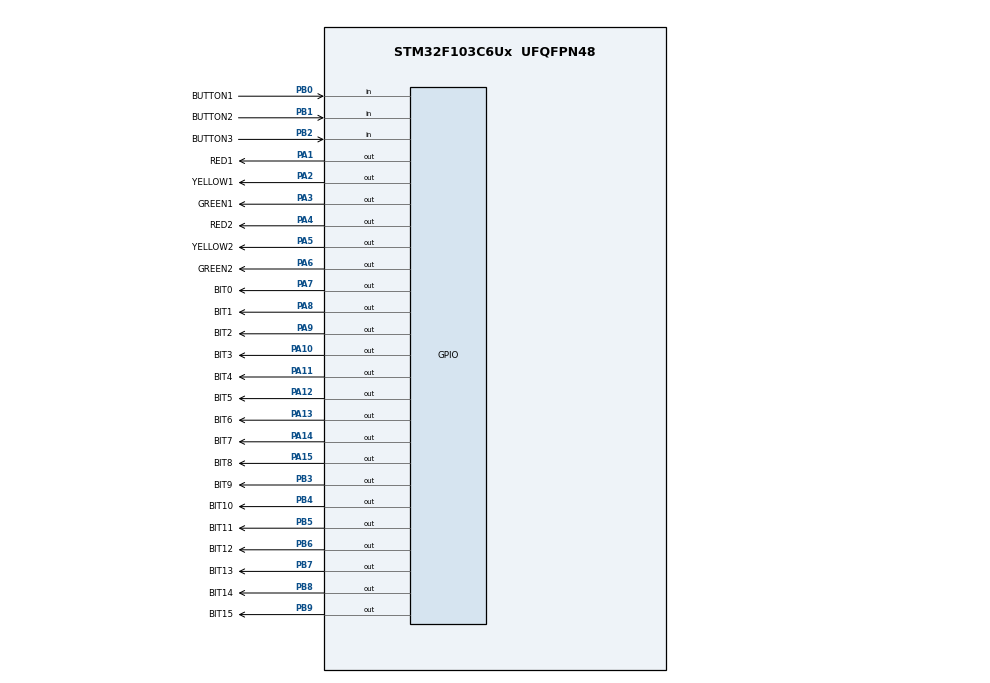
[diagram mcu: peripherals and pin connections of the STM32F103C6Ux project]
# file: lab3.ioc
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Mcu.Family=STM32F1
Mcu.Name=STM32F103C6Ux
Mcu.Package=UFQFPN48
NVIC.PriorityGroup=NVIC_PRIORITYGROUP_4
NVIC.TIM2_IRQn=true\:0\:0\:false\:false\:true\:true\:true
PA1.GPIO_Label=RED1
PA1.Signal=GPIO_Output
PA10.GPIO_Label=BIT3
PA10.Signal=GPIO_Output
PA11.GPIO_Label=BIT4
PA11.Signal=GPIO_Output
PA12.GPIO_Label=BIT5
PA12.Signal=GPIO_Output
PA13.GPIO_Label=BIT6
PA13.Signal=GPIO_Output
PA14.GPIO_Label=BIT7
PA14.Signal=GPIO_Output
PA15.GPIO_Label=BIT8
PA15.Signal=GPIO_Output
PA2.GPIO_Label=YELLOW1
PA2.Signal=GPIO_Output
PA3.GPIO_Label=GREEN1
PA3.Signal=GPIO_Output
PA4.GPIO_Label=RED2
PA4.Signal=GPIO_Output
PA5.GPIO_Label=YELLOW2
PA5.Signal=GPIO_Output
PA6.GPIO_Label=GREEN2
PA6.Signal=GPIO_Output
PA7.GPIO_Label=BIT0
PA7.Signal=GPIO_Output
PA8.GPIO_Label=BIT1
PA8.Signal=GPIO_Output
PA9.GPIO_Label=BIT2
PA9.Signal=GPIO_Output
PB0.GPIO_Label=BUTTON1
PB0.GPIO_PuPd=GPIO_PULLUP
PB0.Signal=GPIO_Input
PB1.GPIO_Label=BUTTON2
PB1.GPIO_PuPd=GPIO_PULLUP
PB1.Signal=GPIO_Input
PB2.GPIO_Label=BUTTON3
PB2.GPIO_PuPd=GPIO_PULLUP
PB2.Signal=GPIO_Input
PB3.GPIO_Label=BIT9
PB3.Signal=GPIO_Output
PB4.GPIO_Label=BIT10
PB4.Signal=GPIO_Output
PB5.GPIO_Label=BIT11
PB5.Signal=GPIO_Output
PB6.GPIO_Label=BIT12
PB6.Signal=GPIO_Output
PB7.GPIO_Label=BIT13
PB7.Signal=GPIO_Output
PB8.GPIO_Label=BIT14
PB8.Signal=GPIO_Output
PB9.GPIO_Label=BIT15
PB9.Signal=GPIO_Output
ProjectManager.HeapSize=0x200
ProjectManager.StackSize=0x400
ProjectManager.TargetToolchain=STM32CubeIDE
RCC.APB1Freq_Value=8000000
RCC.APB2Freq_Value=8000000
TIM2.Period=9
TIM2.Prescaler=7999
VP_SYS_VS_ND.Mode=No_Debug
VP_TIM2_VS_ClockSourceINT.Mode=Internal
board=custom

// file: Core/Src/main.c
/* USER CODE BEGIN Header */
/**
  ******************************************************************************
  * @file           : main.c
  * @brief          : Main program body
  ******************************************************************************
  * @attention
  *
  * <h2><center>&copy; Copyright (c) 2023 STMicroelectronics.
  * All rights reserved.</center></h2>
  *
  * This software component is licensed by ST under BSD 3-Clause license,
  * the "License"; You may not use this file except in compliance with the
  * License. You may obtain a copy of the License at:
  *                        opensource.org/licenses/BSD-3-Clause
  *
  ******************************************************************************
  */
/* USER CODE END Header */
#include "main.h"
#include "software_timer.h"
#include "global.h"

TIM_HandleTypeDef htim2;

void SystemClock_Config(void);
static void MX_GPIO_Init(void);
static void MX_TIM2_Init(void);

/* USER CODE BEGIN 0 */
int timer0_counter = 0;
int timer0_flag = 0;
int TIMER_CYCLE = 10;
void setTimer0(int duration){
	timer0_counter = duration/TIMER_CYCLE;
	timer0_flag = 0;
}

void timer_run(){
	if (timer0_counter > 0){
		timer0_counter--;
		if (timer0_counter == 0) timer0_flag = 1;
	}
}
/* USER CODE END 0 */

int main(void)
{

  /* MCU Configuration--------------------------------------------------------*/

  /* Reset of all peripherals, Initializes the Flash interface and the Systick. */
  HAL_Init();

  /* Configure the system clock */
  SystemClock_Config();

  /* Initialize all configured peripherals */
  MX_GPIO_Init();
  MX_TIM2_Init();
  /* USER CODE BEGIN 2 */
  HAL_TIM_Base_Start_IT(&htim2);
  /* USER CODE END 2 */

  /* Infinite loop */
  /* USER CODE BEGIN WHILE */
  LED_STATE[0] = INIT_STATE;
  LED_STATE[1] = INIT_STATE;

  while (1)
  {
	  fsm_manual_run();
    /* USER CODE END WHILE */

  }
}

void SystemClock_Config(void)
{
  RCC_OscInitTypeDef RCC_OscInitStruct = {0};
  RCC_ClkInitTypeDef RCC_ClkInitStruct = {0};

  /** Initializes the RCC Oscillators according to the specified parameters
  * in the RCC_OscInitTypeDef structure.
  */
  RCC_OscInitStruct.OscillatorType = RCC_OSCILLATORTYPE_HSI;
  RCC_OscInitStruct.HSIState = RCC_HSI_ON;
  RCC_OscInitStruct.HSICalibrationValue = RCC_HSICALIBRATION_DEFAULT;
  RCC_OscInitStruct.PLL.PLLState = RCC_PLL_NONE;
  if (HAL_RCC_OscConfig(&RCC_OscInitStruct) != HAL_OK)
  {
    Error_Handler();
  }
  /** Initializes the CPU, AHB and APB buses clocks
  */
  RCC_ClkInitStruct.ClockType = RCC_CLOCKTYPE_HCLK|RCC_CLOCKTYPE_SYSCLK
                              |RCC_CLOCKTYPE_PCLK1|RCC_CLOCKTYPE_PCLK2;
  RCC_ClkInitStruct.SYSCLKSource = RCC_SYSCLKSOURCE_HSI;
  RCC_ClkInitStruct.AHBCLKDivider = RCC_SYSCLK_DIV1;
  RCC_ClkInitStruct.APB1CLKDivider = RCC_HCLK_DIV1;
  RCC_ClkInitStruct.APB2CLKDivider = RCC_HCLK_DIV1;

  if (HAL_RCC_ClockConfig(&RCC_ClkInitStruct, FLASH_LATENCY_0) != HAL_OK)
  {
    Error_Handler();
  }
}

static void MX_TIM2_Init(void)
{

  TIM_ClockConfigTypeDef sClockSourceConfig = {0};
  TIM_MasterConfigTypeDef sMasterConfig = {0};

  htim2.Instance = TIM2;
  htim2.Init.Prescaler = 7999;
  htim2.Init.CounterMode = TIM_COUNTERMODE_UP;
  htim2.Init.Period = 9;
  htim2.Init.ClockDivision = TIM_CLOCKDIVISION_DIV1;
  htim2.Init.AutoReloadPreload = TIM_AUTORELOAD_PRELOAD_DISABLE;
  if (HAL_TIM_Base_Init(&htim2) != HAL_OK)
  {
    Error_Handler();
  }
  sClockSourceConfig.ClockSource = TIM_CLOCKSOURCE_INTERNAL;
  if (HAL_TIM_ConfigClockSource(&htim2, &sClockSourceConfig) != HAL_OK)
  {
    Error_Handler();
  }
  sMasterConfig.MasterOutputTrigger = TIM_TRGO_RESET;
  sMasterConfig.MasterSlaveMode = TIM_MASTERSLAVEMODE_DISABLE;
  if (HAL_TIMEx_MasterConfigSynchronization(&htim2, &sMasterConfig) != HAL_OK)
  {
    Error_Handler();
  }

}

static void MX_GPIO_Init(void)
{
  GPIO_InitTypeDef GPIO_InitStruct = {0};

  /* GPIO Ports Clock Enable */
  __HAL_RCC_GPIOA_CLK_ENABLE();
  __HAL_RCC_GPIOB_CLK_ENABLE();

  /*Configure GPIO pin Output Level */
  HAL_GPIO_WritePin(GPIOA, RED1_Pin|YELLOW1_Pin|GREEN1_Pin|RED2_Pin
                          |YELLOW2_Pin|GREEN2_Pin|BIT0_Pin|BIT1_Pin
                          |BIT2_Pin|BIT3_Pin|BIT4_Pin|BIT5_Pin
                          |BIT6_Pin|BIT7_Pin|BIT8_Pin, GPIO_PIN_RESET);

  /*Configure GPIO pin Output Level */
  HAL_GPIO_WritePin(GPIOB, BIT9_Pin|BIT10_Pin|BIT11_Pin|BIT12_Pin
                          |BIT13_Pin|BIT14_Pin|BIT15_Pin, GPIO_PIN_RESET);

  /*Configure GPIO pins : RED1_Pin YELLOW1_Pin GREEN1_Pin RED2_Pin
                           YELLOW2_Pin GREEN2_Pin BIT0_Pin BIT1_Pin
                           BIT2_Pin BIT3_Pin BIT4_Pin BIT5_Pin
                           BIT6_Pin BIT7_Pin BIT8_Pin */
  GPIO_InitStruct.Pin = RED1_Pin|YELLOW1_Pin|GREEN1_Pin|RED2_Pin
                          |YELLOW2_Pin|GREEN2_Pin|BIT0_Pin|BIT1_Pin
                          |BIT2_Pin|BIT3_Pin|BIT4_Pin|BIT5_Pin
                          |BIT6_Pin|BIT7_Pin|BIT8_Pin;
  GPIO_InitStruct.Mode = GPIO_MODE_OUTPUT_PP;
  GPIO_InitStruct.Pull = GPIO_NOPULL;
  GPIO_InitStruct.Speed = GPIO_SPEED_FREQ_LOW;
  HAL_GPIO_Init(GPIOA, &GPIO_InitStruct);

  /*Configure GPIO pins : BUTTON1_Pin BUTTON2_Pin BUTTON3_Pin */
  GPIO_InitStruct.Pin = BUTTON1_Pin|BUTTON2_Pin|BUTTON3_Pin;
  GPIO_InitStruct.Mode = GPIO_MODE_INPUT;
  GPIO_InitStruct.Pull = GPIO_PULLUP;
  HAL_GPIO_Init(GPIOB, &GPIO_InitStruct);

  /*Configure GPIO pins : BIT9_Pin BIT10_Pin BIT11_Pin BIT12_Pin
                           BIT13_Pin BIT14_Pin BIT15_Pin */
  GPIO_InitStruct.Pin = BIT9_Pin|BIT10_Pin|BIT11_Pin|BIT12_Pin
                          |BIT13_Pin|BIT14_Pin|BIT15_Pin;
  GPIO_InitStruct.Mode = GPIO_MODE_OUTPUT_PP;
  GPIO_InitStruct.Pull = GPIO_NOPULL;
  GPIO_InitStruct.Speed = GPIO_SPEED_FREQ_LOW;
  HAL_GPIO_Init(GPIOB, &GPIO_InitStruct);

}

/* USER CODE BEGIN 4 */
void HAL_TIM_PeriodElapsedCallback(TIM_HandleTypeDef *htim){
	timerRun();
	getKeyInput(0);
	getKeyInput(1);
	getKeyInput(2);
}
/* USER CODE END 4 */

void Error_Handler(void)
{
  __disable_irq();
  while (1)
  {
  }
}

/************************ (C) COPYRIGHT STMicroelectronics *****END OF FILE****/
